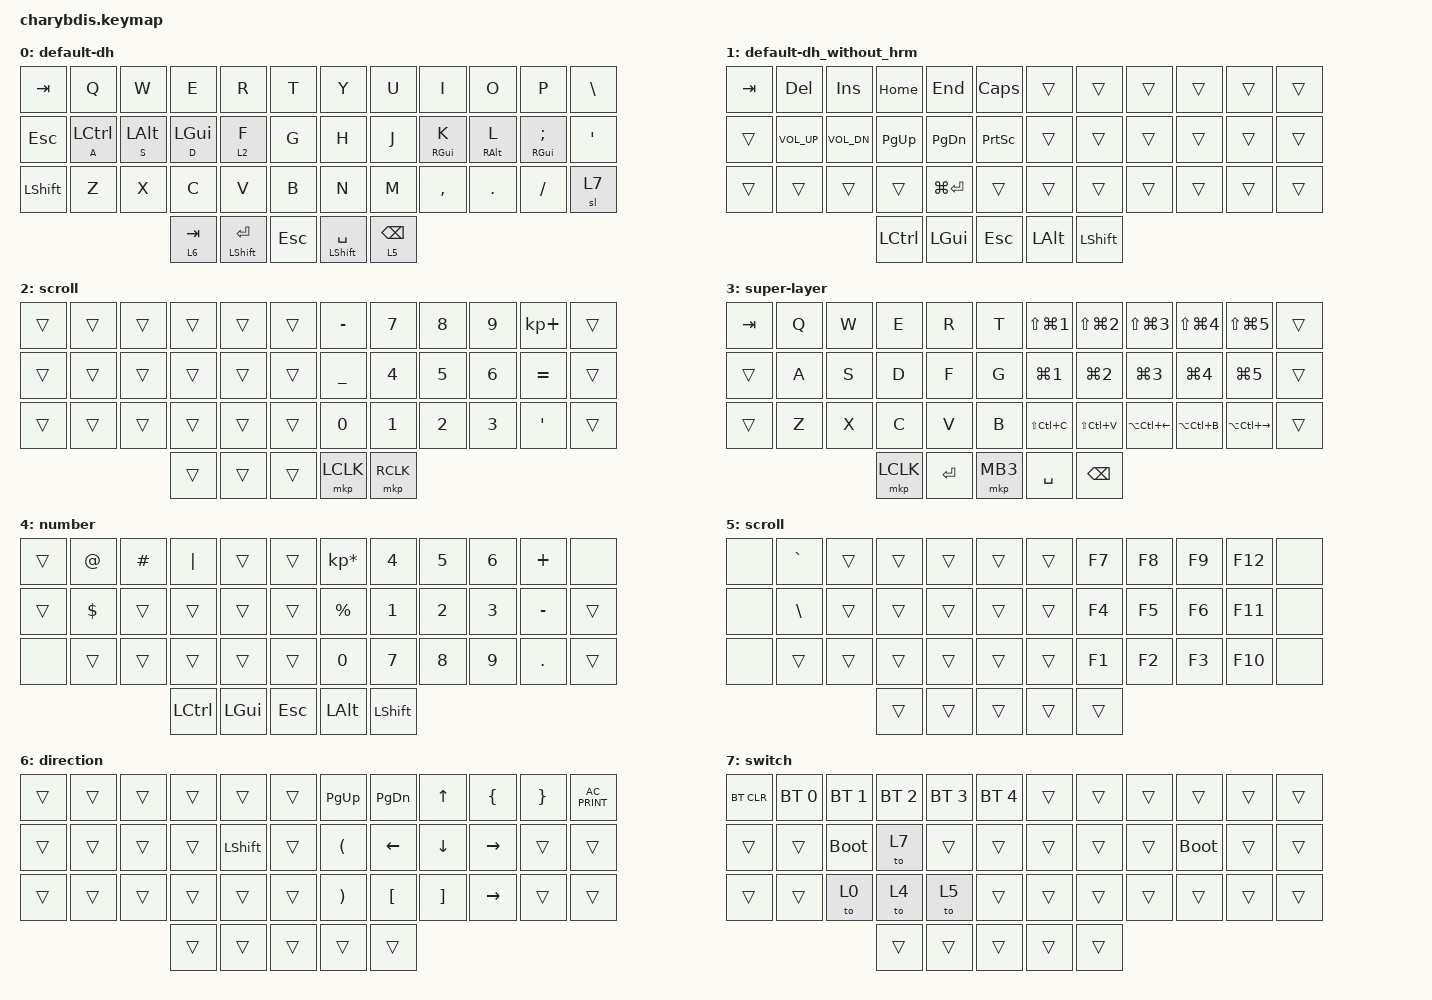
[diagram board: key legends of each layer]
#include <behaviors/mouse_keys.dtsi>
#include "helper.h"
#include "greek.dtsi"
#include <dt-bindings/zmk/mouse.h>
#include <behaviors.dtsi>
#include <dt-bindings/zmk/bt.h>
#include <dt-bindings/zmk/keys.h>
#include <dt-bindings/zmk/pointing.h>


&sl { release-after-ms = <60000>; };

/ {
    macros {
        tmk: tmk {
            compatible = "zmk,behavior-macro";
            #binding-cells = <0>;
            bindings = <&to 1 &mkp LCLK>;
        };
    };

    combos {
        compatible = "zmk,combos";

        bracket {
            bindings = <&kp LEFT_PARENTHESIS>;
            key-positions = <6 7>;
            layers = <0 1>;
        };

        bracket_r {
            bindings = <&kp RIGHT_PARENTHESIS>;
            key-positions = <8 7>;
            layers = <0 1>;
        };

        lb {
            bindings = <&kp LEFT_BRACKET>;
            key-positions = <8 9>;
            layers = <0 1>;
        };

        rb {
            bindings = <&kp RIGHT_BRACKET>;
            key-positions = <10 9>;
            layers = <0 1>;
        };

        lf {
            bindings = <&kp LEFT_BRACE>;
            key-positions = <7 9>;
            layers = <0 1>;
        };

        rba {
            bindings = <&kp RIGHT_BRACE>;
            key-positions = <7 10>;
            layers = <0 1>;
        };

        caret {
            bindings = <&kp CARET>;
            key-positions = <2 1>;
            layers = <0 1>;
        };

        underscore {
            bindings = <&kp UNDERSCORE>;
            key-positions = <16 17>;
            layers = <0 1>;
        };

        pipe {
            bindings = <&kp PIPE>;
            key-positions = <26 27>;
            layers = <0 1>;
        };

        and {
            bindings = <&kp AMPERSAND>;
            key-positions = <2 4>;
            layers = <0 1>;
        };

        at {
            bindings = <&kp AT>;
            key-positions = <2 15>;
            layers = <0 1>;
        };

        tick {
            bindings = <&kp GRAVE>;
            key-positions = <34 35>;
            layers = <0 1>;
        };

        scroll_right {
            bindings = <&msc SCRL_RIGHT>;
            key-positions = <3 14>;
            layers = <0 1>;
        };

        scroll_up {
            bindings = <&msc SCRL_UP>;
            key-positions = <3 16>;
            layers = <0 1>;
        };

        scroll_left {
            bindings = <&msc SCRL_LEFT>;
            key-positions = <3 13 14>;
            layers = <0 1>;
        };

        scroll_down {
            bindings = <&msc SCRL_DOWN>;
            key-positions = <2 3 16>;
            layers = <0 1>;
        };

        dollar {
            bindings = <&kp DLLR>;
            key-positions = <4 5>;
            layers = <0 1>;
        };

        equal {
            bindings = <&kp EQUAL>;
            key-positions = <30 31>;
            layers = <0 1>;
        };

        tilde {
            bindings = <&kp TILDE>;
            key-positions = <31 33>;
            layers = <0 1>;
        };

        exam {
            bindings = <&kp EXCL>;
            key-positions = <25 26>;
            layers = <0 1>;
        };

        bslh {
            bindings = <&kp BSLH>;
            key-positions = <26 28>;
            layers = <0 1>;
        };

        sqt {
            bindings = <&kp SQT>;
            key-positions = <27 28>;
            layers = <0 1>;
        };

        dqt {
            bindings = <&kp DQT>;
            key-positions = <28 29>;
            layers = <0 1>;
        };

        left {
            bindings = <&kp LEFT>;
            key-positions = <31 20>;
            layers = <0 1>;
        };

        right {
            bindings = <&kp RIGHT>;
            key-positions = <33 20>;
            layers = <0 1>;
        };

        up {
            bindings = <&kp UP>;
            key-positions = <8 19>;
            layers = <0 1>;
        };

        down {
            bindings = <&kp DOWN>;
            key-positions = <32 19>;
            layers = <0 1>;
        };

        lclk {
            bindings = <&mkp LCLK>;
            key-positions = <31 32>;
            layers = <0 1>;
        };

        rclk {
            bindings = <&mkp RCLK>;
            key-positions = <33 32>;
            layers = <0 1>;
        };

        scorll {
            bindings = <&sl 2>;
            key-positions = <31 33 32>;
            layers = <0 1>;
        };

        scorll_back {
            bindings = <&to 0>;
            key-positions = <31 33 32>;
            layers = <2>;
        };

        switch {
            bindings = <&mo 7>;
            key-positions = <39 40>;
        };
    };

    behaviors {
        hml: homewrow_mods_left {
            compatible = "zmk,behavior-hold-tap";
            label = "homewrow_mods_left";
            bindings = <&kp>, <&kp>;

            #binding-cells = <2>;
            hold-trigger-key-positions = <6 7 9 8 10 11 23 22 35 34 33 21 20 19 18 30 31 32 41 40 39>;
            tapping-term-ms = <300>;
            flavor = "balanced";
            quick-tap-ms = <175>;
            require-prior-idle-ms = <250>;
            hold-trigger-on-release;
        };

        hmr: hmr {
            compatible = "zmk,behavior-hold-tap";
            label = "HMR";
            bindings = <&kp>, <&kp>;

            #binding-cells = <2>;
            tapping-term-ms = <300>;
            hold-trigger-key-positions = <0 1 2 3 4 5 12 13 14 15 16 17 24 25 26 27 28 29 36 37 38>;
            flavor = "balanced";
            quick-tap-ms = <175>;
            require-prior-idle-ms = <250>;
            hold-trigger-on-release;
        };

        th: tap_hold {
            compatible = "zmk,behavior-hold-tap";
            #binding-cells = <2>;
            tapping-term-ms = <200>;    // <---[[moderate duration]]
            quick-tap-ms = <0>;
            flavor = "balanced";
            bindings = <&msc>, <&kp>;
        };

        hrml: hrml {
            compatible = "zmk,behavior-hold-tap";
            label = "HRML";
            bindings = <&kp>, <&kp>;

            #binding-cells = <2>;
            tapping-term-ms = <280>;
            quick-tap-ms = <175>;
            require-prior-idle-ms = <150>;
            flavor = "balanced";
            hold-trigger-key-positions = <6 7 8 9 10 18 19 20 21 22 30 31 32 33 34 40 39 11 23 35 36 37 38>;
            hold-trigger-on-release;
        };

        hrmr: hrmr {
            compatible = "zmk,behavior-hold-tap";
            label = "HRMR";
            bindings = <&kp>, <&kp>;

            #binding-cells = <2>;
            tapping-term-ms = <280>;
            quick-tap-ms = <175>;
            require-prior-idle-ms = <150>;
            flavor = "balanced";
            hold-trigger-key-positions = <0 1 2 4 5 12 13 14 15 16 17 24 25 26 27 28 29 36 37 38 3 40 39>;
            hold-trigger-on-release;
        };
    };

    keymap {
        compatible = "zmk,keymap";

        default-dh {
            bindings = <
&kp TAB     &kp Q                 &kp W             &kp E             &kp R                 &kp T         &kp Y                 &kp U            &kp I              &kp O              &kp P                      &kp BACKSLASH
&kp ESCAPE  &hrml A LEFT_CONTROL  &hrml S LEFT_ALT  &hrml D LEFT_GUI  &lt 2 F               &kp G         &kp H                 &kp J            &hrmr RIGHT_GUI K  &hrmr RIGHT_ALT L  &hrmr RIGHT_GUI SEMICOLON  &kp APOS
&kp LSHFT   &kp Z                 &kp X             &kp C             &kp V                 &kp B         &kp N                 &kp M            &kp COMMA          &kp DOT            &kp SLASH                  &sl 7
                                                    &lt 6 TAB         &mt LEFT_SHIFT ENTER  &kp ESCAPE    &mt LEFT_SHIFT SPACE  &lt 5 BACKSPACE
            >;
        };

        default-dh_without_hrm {
            bindings = <
&kp TAB  &kp DEL       &kp INS       &kp HOME   &kp END        &kp CAPS      &trans    &trans     &trans  &trans  &trans  &trans
&trans   &kp K_VOL_UP  &kp K_VOL_DN  &kp PG_UP  &kp PG_DN      &kp PSCRN     &trans    &trans     &trans  &trans  &trans  &trans
&trans   &trans        &trans        &trans     &kp LG(ENTER)  &trans        &trans    &trans     &trans  &trans  &trans  &trans
                                     &kp LCTRL  &kp LGUI       &kp ESCAPE    &kp LALT  &kp LSHFT
            >;
        };

        scroll {
            bindings = <
&trans  &trans  &trans  &trans  &trans  &trans    &kp MINUS       &kp NUMBER_7  &kp NUMBER_8  &kp NUMBER_9  &kp KP_PLUS  &trans
&trans  &trans  &trans  &trans  &trans  &trans    &kp UNDERSCORE  &kp NUMBER_4  &kp NUMBER_5  &kp NUMBER_6  &kp EQUAL    &trans
&trans  &trans  &trans  &trans  &trans  &trans    &kp NUMBER_0    &kp NUMBER_1  &kp NUMBER_2  &kp NUMBER_3  &kp SQT      &trans
                        &trans  &trans  &trans    &mkp LCLK       &mkp RCLK
            >;

            label = "scroll";
        };

        super-layer {
            bindings = <
&kp TAB  &kp Q  &kp W  &kp E      &kp R      &kp T       &kp LS(LG(N1))  &kp LS(LG(N2))  &kp LS(LG(N3))    &kp LS(LG(N4))  &kp LS(LG(N5))     &trans
&trans   &kp A  &kp S  &kp D      &kp F      &kp G       &kp LG(N1)      &kp LG(N2)      &kp LG(N3)        &kp LG(N4)      &kp LG(N5)         &trans
&trans   &kp Z  &kp X  &kp C      &kp V      &kp B       &kp LS(LC(C))   &kp LS(LC(V))   &kp LA(LC(LEFT))  &kp LA(LC(B))   &kp LA(LC(RIGHT))  &trans
                       &mkp LCLK  &kp ENTER  &mkp MB3    &kp SPACE       &kp BACKSPACE
            >;
        };

        number {
            bindings = <
&trans  &kp AT    &kp HASH  &kp PIPE   &trans    &trans        &kp KP_MULTIPLY  &kp N4     &kp N5  &kp N6  &kp PLUS   &none
&trans  &kp DLLR  &trans    &trans     &trans    &trans        &kp PERCENT      &kp N1     &kp N2  &kp N3  &kp MINUS  &trans
&none   &trans    &trans    &trans     &trans    &trans        &kp N0           &kp N7     &kp N8  &kp N9  &kp DOT    &trans
                            &kp LCTRL  &kp LGUI  &kp ESCAPE    &kp LALT         &kp LSHFT
            >;
        };

        fun {
            bindings = <
&none  &kp GRAVE      &trans  &trans  &trans  &trans    &trans  &kp F7  &kp F8  &kp F9  &kp F12  &none
&none  &kp BACKSLASH  &trans  &trans  &trans  &trans    &trans  &kp F4  &kp F5  &kp F6  &kp F11  &none
&none  &trans         &trans  &trans  &trans  &trans    &trans  &kp F1  &kp F2  &kp F3  &kp F10  &none
                              &trans  &trans  &trans    &trans  &trans
            >;

            label = "scroll";
        };

        direction {
            bindings = <
&trans  &trans  &trans  &trans  &trans          &trans    &kp PAGE_UP            &kp PAGE_DOWN     &kp UP_ARROW       &kp LEFT_BRACE   &kp RIGHT_BRACE  &kp C_AC_PRINT
&trans  &trans  &trans  &trans  &kp LEFT_SHIFT  &trans    &kp LEFT_PARENTHESIS   &kp LEFT_ARROW    &kp DOWN_ARROW     &kp RIGHT_ARROW  &trans           &trans
&trans  &trans  &trans  &trans  &trans          &trans    &kp RIGHT_PARENTHESIS  &kp LEFT_BRACKET  &kp RIGHT_BRACKET  &kp RIGHT        &trans           &trans
                        &trans  &trans          &trans    &trans                 &trans
            >;
        };

        switch {
            bindings = <
&bt BT_CLR  &bt BT_SEL 0  &bt BT_SEL 1  &bt BT_SEL 2  &bt BT_SEL 3  &bt BT_SEL 4    &trans  &trans  &trans  &trans       &trans  &trans
&trans      &trans        &bootloader   &to 7         &trans        &trans          &trans  &trans  &trans  &bootloader  &trans  &trans
&trans      &trans        &to 0         &to 4         &to 5         &trans          &trans  &trans  &trans  &trans       &trans  &trans
                                        &trans        &trans        &trans          &trans  &trans
            >;

            label = "switch";
        };
    };
};
